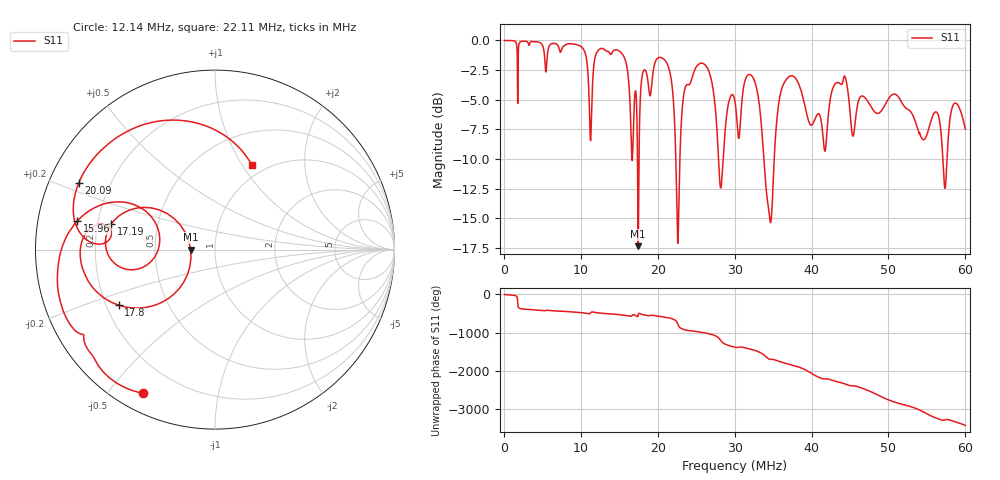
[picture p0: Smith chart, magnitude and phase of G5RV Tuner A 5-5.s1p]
# Hz S RI R 50
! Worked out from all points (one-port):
!   3030 points, 100 kHz to 60 MHz, reference 50 ohm
!   lowest |S11| = -17.3 dB at 17.46 MHz (marker M1), VSWR 1.31, Z = 38 + j0.0337 ohm
!   |S11| at or under -10 dB: 27.91 MHz to 28.51 MHz (598.4 kHz wide, 2.12 % of centre); 33.8 MHz to 35.15 MHz (1.344 MHz wide, 3.9 % of centre); 57.07 MHz to 57.61 MHz (544.9 kHz wide, 0.95 % of centre)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
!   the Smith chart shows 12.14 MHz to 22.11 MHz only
!   S11 on the Smith chart (normalised r, x): 12.14 MHz: 0.08, -0.61; 15.96 MHz: 0.12, +0.10; 17.19 MHz: 0.26, +0.11; 17.8 MHz: 0.25, -0.25; 20.09 MHz: 0.09, +0.23; 22.11 MHz: 0.86, +1.10
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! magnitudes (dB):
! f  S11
! 100 kHz  0.0
! 7.595 MHz  -0.6
! 11.27 MHz  -8.5
! 12.14 MHz  -1.0
! 15.09 MHz  -0.9
! 15.96 MHz  -2.1
! 17.19 MHz  -4.5
! 17.46 MHz  -17.3
! 17.8 MHz  -4.2
! 20.09 MHz  -1.5
! 22.11 MHz  -5.8
! 22.56 MHz  -16.4
! 23.41 MHz  -4.5
! 25.06 MHz  -2.2
! 26.95 MHz  -3.3
! 28.2 MHz  -12.4
! 30.06 MHz  -5.2
! 32.63 MHz  -3.5
! 34.61 MHz  -15.2
! 35.83 MHz  -4.9
! 37.55 MHz  -3.0
! 41.71 MHz  -9.3
! 45.03 MHz  -6.3
! 52.52 MHz  -5.8
! 56.34 MHz  -6.1
! 57.33 MHz  -12.5
! 58.4 MHz  -5.5
! 60 MHz  -7.5
